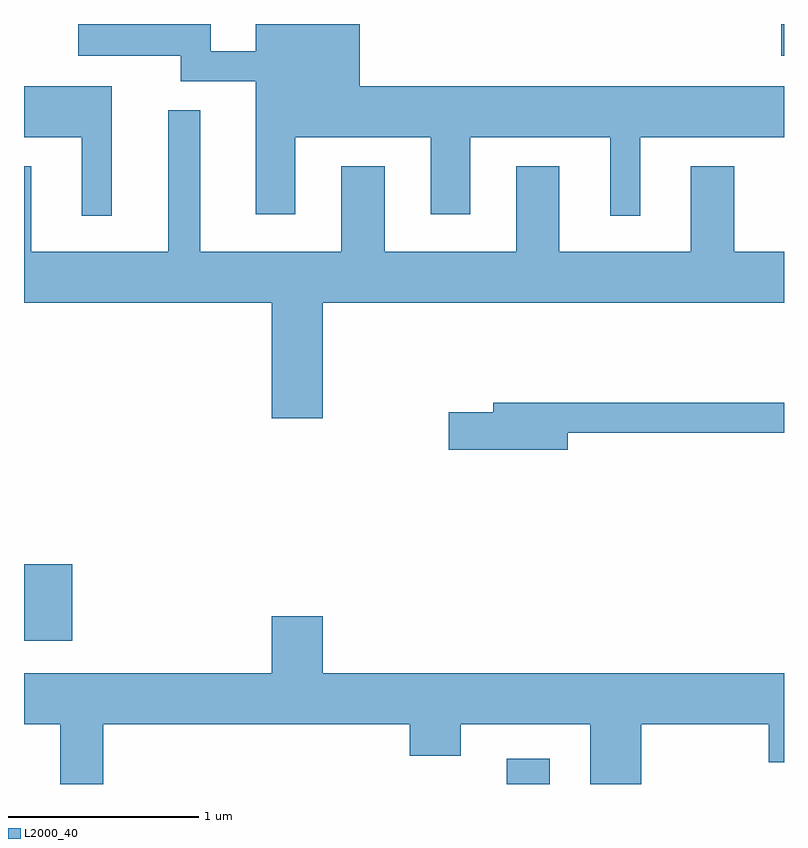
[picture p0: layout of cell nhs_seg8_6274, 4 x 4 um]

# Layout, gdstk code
import gdstk
lib = gdstk.Library(unit=1e-6, precision=1e-09)
def R(c, l, rs):  # rectangles x0, y0, x1, y1
    for r in rs: c.add(gdstk.rectangle(r[:2], r[2:], *l))
def P(c, l, *ps):  # polygons
    for p in ps: c.add(gdstk.Polygon(p, *l))
L2000_40 = (2000, 40)

nhs_seg8_6274 = lib.new_cell('nhs_seg8_6274')
R(nhs_seg8_6274, L2000_40, [(376.151,1818.342,376.379,1818.474), (373.611,1819.096,373.864,1819.499), (377.596,1822.176,377.611,1822.342)])
P(nhs_seg8_6274, L2000_40, [(376.854,1821.746),(377.611,1821.746),(377.611,1822.014),(375.379,1822.014),(375.379,1822.342),(374.831,1822.342),(374.831,1822.199),(374.594,1822.199),(374.594,1822.342),(373.896,1822.342),(373.896,1822.176),(374.436,1822.176),(374.436,1822.041),(374.831,1822.041),(374.831,1821.341),(375.039,1821.341),(375.039,1821.746),(375.751,1821.746),(375.751,1821.341),(375.959,1821.341),(375.959,1821.746),(376.696,1821.746),(376.696,1821.333),(376.854,1821.333)],
  [(374.074,1822.014),(373.611,1822.014),(373.611,1821.746),(373.916,1821.746),(373.916,1821.333),(374.074,1821.333)],
  [(375.184,1820.876),(377.611,1820.876),(377.611,1821.144),(377.349,1821.144),(377.349,1821.594),(377.121,1821.594),(377.121,1821.144),(376.429,1821.144),(376.429,1821.594),(376.201,1821.594),(376.201,1821.144),(375.509,1821.144),(375.509,1821.594),(375.281,1821.594),(375.281,1821.144),(374.539,1821.144),(374.539,1821.888),(374.371,1821.888),(374.371,1821.144),(373.649,1821.144),(373.649,1821.594),(373.611,1821.594),(373.611,1820.876),(374.916,1820.876),(374.916,1820.266),(375.184,1820.266)],
  [(376.474,1820.191),(377.611,1820.191),(377.611,1820.349),(376.081,1820.349),(376.081,1820.299),(375.846,1820.299),(375.846,1820.101),(376.474,1820.101)],
  [(374.029,1818.656),(375.641,1818.656),(375.641,1818.491),(375.909,1818.491),(375.909,1818.656),(376.591,1818.656),(376.591,1818.342),(376.859,1818.342),(376.859,1818.656),(377.531,1818.656),(377.531,1818.456),(377.611,1818.456),(377.611,1818.924),(375.184,1818.924),(375.184,1819.224),(374.916,1819.224),(374.916,1818.924),(373.611,1818.924),(373.611,1818.656),(373.801,1818.656),(373.801,1818.342),(374.029,1818.342)])

lib.write_gds('nhs_seg8_6274.gds')
